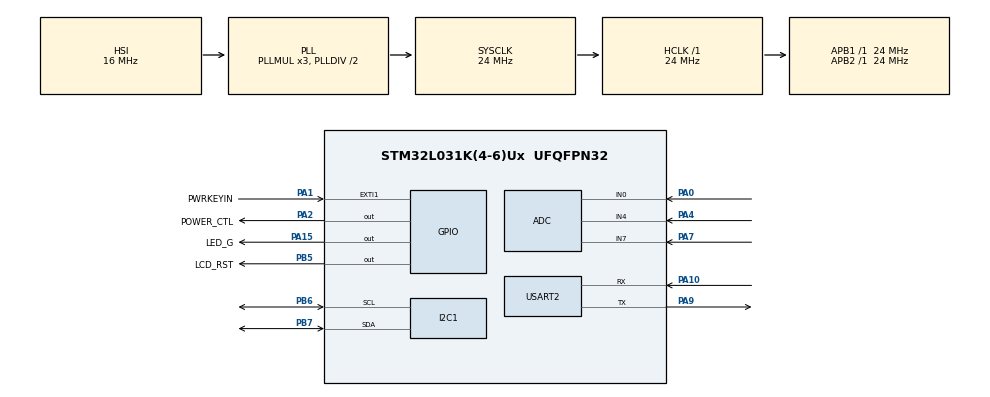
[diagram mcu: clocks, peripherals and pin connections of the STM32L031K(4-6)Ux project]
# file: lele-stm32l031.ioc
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ADC.ClockPrescaler=ADC_CLOCK_ASYNC_DIV16
ADC.ContinuousConvMode=ENABLE
ADC.DMAContinuousRequests=ENABLE
ADC.EOCSelection=ADC_EOC_SEQ_CONV
ADC.SamplingTime=ADC_SAMPLETIME_12CYCLES_5
Dma.ADC.0.Direction=DMA_PERIPH_TO_MEMORY
Dma.ADC.0.Instance=DMA1_Channel1
Dma.ADC.0.MemDataAlignment=DMA_MDATAALIGN_HALFWORD
Dma.ADC.0.MemInc=DMA_MINC_ENABLE
Dma.ADC.0.Mode=DMA_NORMAL
Dma.ADC.0.PeriphDataAlignment=DMA_PDATAALIGN_HALFWORD
Dma.ADC.0.PeriphInc=DMA_PINC_DISABLE
Dma.ADC.0.Priority=DMA_PRIORITY_LOW
Dma.Request0=ADC
I2C1.OwnAddress=5
I2C1.Timing=0x00805C87
Mcu.Family=STM32L0
Mcu.Name=STM32L031K(4-6)Ux
Mcu.Package=UFQFPN32
NVIC.ADC1_COMP_IRQn=true\:0\:0\:false\:false\:true\:true\:true\:true
NVIC.DMA1_Channel1_IRQn=true\:0\:0\:false\:false\:true\:false\:true\:true
NVIC.LPTIM1_IRQn=true\:0\:0\:false\:false\:true\:true\:true\:true
PA0-CK_IN.Mode=IN0
PA0-CK_IN.Signal=ADC_IN0
PA1.GPIO_Label=PWRKEYIN
PA1.GPIO_ModeDefaultEXTI=GPIO_MODE_IT_FALLING
PA1.Signal=GPXTI1
PA10.Mode=Asynchronous
PA10.Signal=USART2_RX
PA13.Mode=Serial_Wire
PA13.Signal=SYS_SWDIO
PA14.Mode=Serial_Wire
PA14.Signal=SYS_SWCLK
PA15.GPIO_Label=LED_G
PA15.Signal=GPIO_Output
PA2.GPIO_Label=POWER_CTL
PA2.Signal=GPIO_Output
PA4.Mode=IN4
PA4.Signal=ADC_IN4
PA7.Mode=IN7
PA7.Signal=ADC_IN7
PA9.Mode=Asynchronous
PA9.Signal=USART2_TX
PB5.GPIO_Label=LCD_RST
PB5.Signal=GPIO_Output
PB6.Mode=I2C
PB6.Signal=I2C1_SCL
PB7.Mode=I2C
PB7.Signal=I2C1_SDA
ProjectManager.HeapSize=0x400
ProjectManager.StackSize=0x800
ProjectManager.TargetToolchain=MDK-ARM V5.27
RCC.AHBFreq_Value=24000000
RCC.APB1Freq_Value=24000000
RCC.APB1TimFreq_Value=24000000
RCC.APB2Freq_Value=24000000
RCC.APB2TimFreq_Value=24000000
RCC.HCLKFreq_Value=24000000
RCC.HSE_VALUE=8000000
RCC.HSI16_VALUE=16000000
RCC.HSI_VALUE=16000000
RCC.LSE_VALUE=32768
RCC.MSI_VALUE=2097000
RCC.SYSCLKFreq_VALUE=24000000
RCC.SYSCLKSource=RCC_SYSCLKSOURCE_PLLCLK
RCC.VCOOutputFreq_Value=48000000
RTC.WakeUpClock-WakeUp=RTC_WAKEUPCLOCK_CK_SPRE_16BITS
RTC.WakeUpCounter-WakeUp=10
SYS.PVDLevel=PWR_PVDLEVEL_0
USART2.VirtualMode-Asynchronous=VM_ASYNC
VP_ADC_TempSens_Input.Mode=IN-TempSens
VP_LPTIM1_VS_LPTIM_counterModeInternalClock.Mode=Counts__internal_clock_event_00
VP_RTC_VS_RTC_Activate.Mode=RTC_Enabled
VP_RTC_VS_RTC_WakeUp_intern.Mode=WakeUp
VP_SYS_V_PVD_IN.Mode=Mode_PVD_Int
board=custom

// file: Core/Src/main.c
/* USER CODE BEGIN Header */
/**
 ******************************************************************************
 * @file           : main.c
 * @brief          : Main program body
 ******************************************************************************
 * @attention
 *
 * Copyright (c) 2026 STMicroelectronics.
 * All rights reserved.
 *
 * This software is licensed under terms that can be found in the LICENSE file
 * in the root directory of this software component.
 * If no LICENSE file comes with this software, it is provided AS-IS.
 *
 ******************************************************************************
 */
/* USER CODE END Header */
#include "main.h"
#include "adc.h"
#include "dma.h"
#include "gpio.h"
#include "i2c.h"
#include "lptim.h"
#include "rtc.h"
#include "usart.h"

/* USER CODE BEGIN Includes */
#include "oled.h"
#include <math.h>
#include <stdarg.h>
#include <stdint.h>
#include <stdio.h>
#include <stdlib.h>

/* USER CODE END Includes */

/* USER CODE BEGIN PTD */
typedef struct {
  uint16_t raw_vbat;
  uint16_t raw_vref;
  uint16_t raw_ext_temp;
  uint16_t raw_int_temp;
  uint32_t vdda_mv;
  uint32_t vbat_mv;
  uint32_t vref_mv;
  uint32_t temp_ext_c_pt1000_mv;
  int32_t temp_int_c_x100; /* hundredths of deg C */
  int32_t temp_ext_c_x100; /* hundredths of deg C, computed from pt1000 */
} adc_sample_t;
/* USER CODE END PTD */

/* USER CODE BEGIN PD */
#define APP_LED_BLINK_PERIOD_MS 1000U
#define BUTTON_DEBOUNCE_MS 50U
#define BUTTON_LONG_PRESS_MS      3000U
#define DISPLAY_TIMEOUT_MS        3000U
#define WAKEUP_TIMEOUT_MS 60000U
#define VREF_EXT_MV 1250U
#define ADC_FULL_SCALE 4095U
#define TS_CAL1_ADDR ((uint16_t *)0x1FF8007A)
#define TS_CAL2_ADDR ((uint16_t *)0x1FF8007E)
#define TS_CAL_VREF_MV 3000U
#define ADC_CHANNEL_COUNT 4U
#define ADC_DMA_SAMPLES 8U
#define EMA_ALPHA_NUM 1U
#define EMA_ALPHA_DEN 4U

#define ADC_REF_VOLTAGE VREF_EXT_MV
#define DISPLAY_ENABLE 1U
#define APP_KEY_WAKEUP_ENABLE 1U
#define TEMP_WEAR_ON_THRESHOLD_X100 3600
#define TEMP_WEAR_OFF_THRESHOLD_X100 3550
#define INVALID_TEMP_X100 (-99900)

// 功耗模式定义
typedef enum {
  POWER_MODE_ACTIVE,  // 活动模式
  POWER_MODE_STANDBY, // 待机模式
  POWER_MODE_SLEEP,   // 深度睡眠
  POWER_MODE_SHUTDOWN // 关机模式
} PowerMode_t;

/* USER CODE END PD */

/* USER CODE BEGIN PV */
static volatile uint16_t adc_dma_buf[ADC_CHANNEL_COUNT * ADC_DMA_SAMPLES];
static volatile uint8_t adc_busy = 0;
static volatile uint8_t adc_ready = 0;
// adc_filter_init reserved for future smoothing; unused currently

static volatile uint8_t rtc_wakeup_flag = 0;
static volatile uint8_t button_irq_flag = 0;
static volatile uint8_t wakeup_source = 0; // 0=unknown, 1=RTC, 2=button
static uint8_t button_short_press = 0;
static uint8_t button_long_press = 0;
static uint32_t button_press_start_time = 0;  // 按键按下时间戳
static uint8_t button_last_state = 1;        // 上次按键状态（1=高电平=释放）
static uint8_t button_debounce_count = 0;    // 防抖计数器
static uint8_t button_long_press_triggered = 0;  // 长按已触发标志

static uint32_t last_led_toggle = 0;
static uint32_t last_wakeup_tick = 0;
static adc_sample_t latest_sample = {0};
static int32_t peak_temp_c_x100 = INVALID_TEMP_X100;
static uint8_t peak_temp_valid = 0;
static uint8_t wear_state_on_body = 0;
#if DISPLAY_ENABLE
static int32_t display_temp_c_x100 = INVALID_TEMP_X100;
static uint8_t display_on = 0;
static uint32_t last_display_tick = 0;
#endif

/* USER CODE END PV */

void SystemClock_Config(void);

static void App_SampleAdc(void);
static int32_t App_ComputeInternalTempC_x100(uint16_t raw_ts, uint32_t vdda_mv);
static void App_Log(const char *fmt, ...);
#if DISPLAY_ENABLE
static void App_UpdateDisplay(void);
#endif
static void App_UpdateWearState(int32_t temp_c_x100);
#if DISPLAY_ENABLE
static int32_t App_GetDisplayTemp(void);
#endif
static void App_EnterStopMode(void);
static void App_EnterShutdownMode(void);
static void App_SetPowerMode(PowerMode_t mode);

/* USER CODE BEGIN 0 */

// -------------------------- 1. 各温度对应的阻值数组（基于您提供的矩阵数据）
// -------------------------- 32℃对应的阻值列表
static const float pt1000_32[] = {1124.474, 1124.861, 1125.248, 1125.636,
                                  1126.023, 1126.41,  1126.797, 1127.184,
                                  1127.571, 1127.958};

// 33℃对应的阻值列表
static const float pt1000_33[] = {1128.345, 1128.732, 1129.119, 1129.893,
                                  1130.127, 1130.28,  1130.667, 1131.054,
                                  1131.441, 1131.82};

// 34℃对应的阻值列表
static const float pt1000_34[] = {1132.215, 1132.602, 1132.988, 1133.375,
                                  1133.762, 1134.149, 1134.536, 1134.923,
                                  1135.309, 1135.69};

// 35℃对应的阻值列表
static const float pt1000_35[] = {1136.083, 1136.47,  1136.857, 1137.243,
                                  1137.63,  1138.017, 1138.404, 1138.79,
                                  1139.177, 1139.564};

// 36℃对应的阻值列表
static const float pt1000_36[] = {1139.95,  1140.337, 1140.724, 1141.11,
                                  1141.497, 1141.884, 1142.27,  1142.657,
                                  1143.043, 1143.43};

// 37℃对应的阻值列表
static const float pt1000_37[] = {1143.817, 1144.203, 1144.59,  1144.976,
                                  1145.363, 1145.749, 1146.136, 1146.522,
                                  1146.909, 1147.295};

// 38℃对应的阻值列表
static const float pt1000_38[] = {1147.681, 1148.068, 1148.454, 1148.841,
                                  1149.227, 1149.614, 1150.0,   1150.386,
                                  1150.773, 1151.159};

// 39℃对应的阻值列表
static const float pt1000_39[] = {1151.545, 1151.932, 1152.318, 1152.704,
                                  1153.091, 1153.477, 1153.86,  1154.249,
                                  1154.636, 1155.02};

// 40℃对应的阻值列表
static const float pt1000_40[] = {1155.408, 1155.794, 1156.18,  1156.567,
                                  1156.953, 1157.339, 1157.725, 1158.111,
                                  1158.497, 1158.883};

// 41℃对应的阻值列表
static const float pt1000_41[] = {1159.27,  1159.656, 1160.042, 1160.428,
                                  1160.814, 1161.2,   1161.586, 1161.972,
                                  1162.358, 1162.744};

// 42℃对应的阻值列表
static const float pt1000_42[] = {1163.13,  1163.516, 1163.902, 1164.288,
                                  1164.674, 1165.06,  1165.446, 1165.831,
                                  1166.217, 1166.6};

// 43℃对应的阻值列表
static const float pt1000_43[] = {1166.989, 1167.376, 1167.761, 1168.147,
                                  1168.532, 1168.918, 1169.304, 1169.69,
                                  1170.076, 1170.46};

// 44℃对应的阻值列表
static const float pt1000_44[] = {1170.847, 1171.233, 1171.619, 1172.004,
                                  1172.39,  1172.776, 1173.161, 1173.547,
                                  1173.933, 1174.318};

// 45℃对应的阻值列表
static const float pt1000_45[] = {1174.704, 1175.09,  1175.475, 1175.861,
                                  1176.247, 1176.632, 1177.018, 1177.403,
                                  1177.789, 1178.174};

// -------------------------- 2. 温度-阻值数组映射表（核心关联结构）
// --------------------------
typedef struct {
  int8_t temp;              // 温度（℃，32~45）
  const float *resistances; // 对应温度的阻值数组
  uint8_t res_count;        // 阻值数组的元素数量
} PT1000_TempResMap;

// 32℃~45℃ 温度-阻值映射表（整合上述数组）
const PT1000_TempResMap pt1000_temp_res_map[] = {
    {32, pt1000_32, sizeof(pt1000_32) / sizeof(float)},
    {33, pt1000_33, sizeof(pt1000_33) / sizeof(float)},
    {34, pt1000_34, sizeof(pt1000_34) / sizeof(float)},
    {35, pt1000_35, sizeof(pt1000_35) / sizeof(float)},
    {36, pt1000_36, sizeof(pt1000_36) / sizeof(float)},
    {37, pt1000_37, sizeof(pt1000_37) / sizeof(float)},
    {38, pt1000_38, sizeof(pt1000_38) / sizeof(float)},
    {39, pt1000_39, sizeof(pt1000_39) / sizeof(float)},
    {40, pt1000_40, sizeof(pt1000_40) / sizeof(float)},
    {41, pt1000_41, sizeof(pt1000_41) / sizeof(float)},
    {42, pt1000_42, sizeof(pt1000_42) / sizeof(float)},
    {43, pt1000_43, sizeof(pt1000_43) / sizeof(float)},
    {44, pt1000_44, sizeof(pt1000_44) / sizeof(float)},
    {45, pt1000_45, sizeof(pt1000_45) / sizeof(float)}};

// 映射表的总条目数（自动计算，避免硬编码错误）
#define PT1000_MAP_ENTRY_COUNT                                                 \
  (sizeof(pt1000_temp_res_map) / sizeof(PT1000_TempResMap))

// -------------------------- 2. 核心函数：阻值转温度（0.1℃精度）
// --------------------------
/**
 * @brief 阻值转温度（精度0.1℃）
 * @param target_res: 采样的PT1000阻值（Ω）
 * @return 温度值（℃，保留1位小数）；返回-999.0表示阻值超出32~45℃对应范围
 */
float pt1000_res_to_temp_01deg(const float target_res) {
  // 定义相邻原始点（R_prev/T_prev：前一个0.1℃步进点；R_next/T_next：后一个0.1℃步进点）
  float R_prev = 0.0f, T_prev = 0.0f;
  float R_next = 0.0f, T_next = 0.0f;
  // 全局遍历所有原始阻值点，找到目标阻值的相邻区间
  for (uint8_t i = 0; i < PT1000_MAP_ENTRY_COUNT; i++) {
    const PT1000_TempResMap *entry = &pt1000_temp_res_map[i];
    for (uint8_t j = 0; j < entry->res_count; j++) {
      float current_R = entry->resistances[j];
      // 原始点的温度：基准温度 + j×0.1℃（如32.0 +
      // 0×0.1=32.00，32.0+1×0.1=32.10...）
      float current_T = entry->temp + (j * 0.1f);

      // 1. 精准匹配原始点：直接返回0.01℃精度的温度（无插值）
      if (fabs(current_R - target_res) < 1e-6) { // 浮点精度容错（1e-6Ω）
        return roundf(current_T * 100) / 100;    // 强制保留2位小数
      }

      // 2. 更新前一个点（≤目标阻值的最大阻值点）
      if (current_R <= target_res && current_R > R_prev) {
        R_prev = current_R;
        T_prev = current_T;
      }

      // 3. 更新后一个点（≥目标阻值的最小阻值点）
      if (current_R >= target_res) {
        if (R_next == 0.0f || current_R < R_next) {
          R_next = current_R;
          T_next = current_T;
        }
      }
    }
  }

  // 校验：阻值超出32~45℃范围（无有效相邻点）
  if (R_prev == 0.0f || R_next == 0.0f) {
    return -999.00f;
  }

  // 4. 二级线性插值：在0.1℃区间内细分到0.01℃
  // 公式：Tx = T_prev + (T_next - T_prev) × (Rx - R_prev)/(R_next - R_prev)
  // T_next - T_prev = 0.1℃，因此结果会自然细分到0.01℃
  float temp_delta = T_next - T_prev; // 固定为0.1℃（原始点步进）
  float res_delta = R_next - R_prev;  // 原始点的阻值差
  if (res_delta <= 0.0f) {
    return -999.00f; // 数据异常（非递增或重复）
  }
  float res_offset = target_res - R_prev; // 目标阻值相对前一个点的偏移
  float interpolated_T = T_prev + (temp_delta * res_offset) / res_delta;

  // 5. 四舍五入保留2位小数（确保0.01℃精度，避免浮点误差）
  interpolated_T = roundf(interpolated_T * 100) / 100;

  return interpolated_T;
}

#if DISPLAY_ENABLE
static void App_UpdateDisplay(void) {
  SSD1315_Clear();
  char buff[16];
  snprintf(buff, sizeof(buff), "%.2fo", display_temp_c_x100 * 0.01f);
  SSD1315_ShowBigText(1, 8, buff, 1);
  SSD1315_Refresh_Gram();
}
#endif

static void App_UpdateWearState(int32_t temp_c_x100) {
  uint8_t old_wear_state = wear_state_on_body;

  if (wear_state_on_body) {
    if (temp_c_x100 <= TEMP_WEAR_OFF_THRESHOLD_X100) {
      wear_state_on_body = 0;
    }
  } else {
    if (temp_c_x100 >= TEMP_WEAR_ON_THRESHOLD_X100) {
      wear_state_on_body = 1;
    }
  }

  // 重新检测到在体时，清除旧峰值，重新开始锁存
  if (!old_wear_state && wear_state_on_body) {
    peak_temp_c_x100 = INVALID_TEMP_X100;
    peak_temp_valid = 0;
  }
}

#if DISPLAY_ENABLE
static int32_t App_GetDisplayTemp(void) {
  if (wear_state_on_body) {
    return latest_sample.temp_ext_c_x100;
  }

  if (peak_temp_valid) {
    return peak_temp_c_x100;
  }

  return latest_sample.temp_ext_c_x100;
}
#endif

static void App_Log(const char *fmt, ...) {
  char buf[256];
  int len = 0;
  uint32_t tick = HAL_GetTick();
  len = snprintf(buf, sizeof(buf), "[%lu] ", (unsigned long)tick);

  if (len < 0 || len >= (int)sizeof(buf)) {
    return;
  }

  va_list args;
  va_start(args, fmt);
  int rem = (int)sizeof(buf) - len;
  int n = vsnprintf(&buf[len], (size_t)rem, fmt, args);
  va_end(args);

  if (n < 0) {
    return;
  }

  int total = len + n;
  if (total > (int)sizeof(buf)) {
    total = sizeof(buf);
  }

  HAL_UART_Transmit(&huart2, (uint8_t *)buf, (uint16_t)total, 100);
}

static void App_SampleAdc(void) {
  if (adc_busy) {
    return; /* Avoid overlapping DMA transfers */
  }

  adc_ready = 0;
  adc_busy = 1;

  if (HAL_ADC_Start_DMA(&hadc, (uint32_t *)adc_dma_buf,
                        ADC_CHANNEL_COUNT * ADC_DMA_SAMPLES) != HAL_OK) {
    adc_busy = 0;
  }
}

static int32_t App_ComputeInternalTempC_x100(uint16_t raw_ts,
                                             uint32_t vdda_mv) {
  uint32_t ts_cal1 = (uint32_t)(*TS_CAL1_ADDR);
  uint32_t ts_cal2 = (uint32_t)(*TS_CAL2_ADDR);
  if (ts_cal2 <= ts_cal1) {
    return 0;
  }

  /* scale raw reading to calibration voltage */
  uint32_t ts_scaled = (uint32_t)raw_ts * vdda_mv / TS_CAL_VREF_MV;
  int32_t numerator = (int32_t)(ts_scaled - ts_cal1) * 100 * (110 - 30);
  int32_t temp_c_x100 = numerator / (int32_t)(ts_cal2 - ts_cal1) + 30 * 100;
  return temp_c_x100;
}

void HAL_ADC_ConvCpltCallback(ADC_HandleTypeDef *hadc_handle) {
  if (hadc_handle != &hadc) {
    return;
  }

  /* Stop DMA after normal-mode transfer completes */
  HAL_ADC_Stop_DMA(hadc_handle);

  adc_sample_t sample = {0};
  uint32_t sum_vbat = 0;
  uint32_t sum_vref = 0;
  uint32_t sum_ext = 0;
  uint32_t sum_int = 0;

  for (uint32_t i = 0; i < ADC_DMA_SAMPLES; i++) {
    uint32_t base = i * ADC_CHANNEL_COUNT;
    sum_vbat += adc_dma_buf[base + 0];
    sum_vref += adc_dma_buf[base + 1];
    sum_ext += adc_dma_buf[base + 2];
    sum_int += adc_dma_buf[base + 3];
  }

  sample.raw_vbat = (uint16_t)(sum_vbat / ADC_DMA_SAMPLES);
  sample.raw_vref = (uint16_t)(sum_vref / ADC_DMA_SAMPLES);
  sample.raw_ext_temp = (uint16_t)(sum_ext / ADC_DMA_SAMPLES);
  sample.raw_int_temp = (uint16_t)(sum_int / ADC_DMA_SAMPLES);

  if (sample.raw_vref > 0) {
    sample.vdda_mv = (uint32_t)VREF_EXT_MV * ADC_FULL_SCALE / sample.raw_vref;
  } else {
    sample.vdda_mv = 3000U;
  }

  sample.vbat_mv =
      (uint32_t)sample.raw_vbat * sample.vdda_mv * 2 / ADC_FULL_SCALE;
  sample.temp_int_c_x100 =
      App_ComputeInternalTempC_x100(sample.raw_int_temp, sample.vdda_mv);
  sample.temp_ext_c_pt1000_mv =
      (uint32_t)sample.raw_ext_temp * sample.vdda_mv / ADC_FULL_SCALE;

  /* Simple EMA to smooth noise */
  latest_sample.raw_vbat = sample.raw_vbat;
  latest_sample.raw_vref = sample.raw_vref;
  latest_sample.raw_ext_temp = sample.raw_ext_temp;
  latest_sample.raw_int_temp = sample.raw_int_temp;
  latest_sample.vdda_mv = sample.vdda_mv;
  latest_sample.vbat_mv = sample.vbat_mv;
  latest_sample.vref_mv = VREF_EXT_MV;
  latest_sample.temp_int_c_x100 = sample.temp_int_c_x100;
  latest_sample.temp_ext_c_pt1000_mv = sample.temp_ext_c_pt1000_mv;

  adc_ready = 1;
  adc_busy = 0;
}

static void App_HandleLed(uint32_t now) {
  if ((now - last_led_toggle) >= APP_LED_BLINK_PERIOD_MS) {
    last_led_toggle = now;
    HAL_GPIO_TogglePin(LED_G_GPIO_Port, LED_G_Pin);
  }
}

void HAL_GPIO_EXTI_Callback(uint16_t GPIO_Pin) {
  if (GPIO_Pin == PWRKEYIN_Pin) {
    button_irq_flag = 1;
    wakeup_source = 2; // button wake-up
    last_wakeup_tick = HAL_GetTick();
  }
}

// 防抖计数阈值（约50ms防抖）
#define BUTTON_DEBOUNCE_COUNT 5U

static void App_HandleButton(void) {
  uint8_t current_state = HAL_GPIO_ReadPin(PWRKEYIN_GPIO_Port, PWRKEYIN_Pin);

  if(current_state != button_last_state) {
    // 增加防抖计数
    if(++button_debounce_count >= BUTTON_DEBOUNCE_COUNT) {
      // 防抖完成，状态稳定
      button_last_state = current_state;
      button_debounce_count = 0;

      if(current_state == GPIO_PIN_RESET) {
        // 按键按下（低电平）
        App_Log("button: pressed\r\n");
        // 记录按下时间戳，开始计时
        button_press_start_time = HAL_GetTick();
        button_long_press_triggered = 0;
      } else {
        // 按键释放（高电平）
        App_Log("button: released\r\n");
        // 释放时检查是否为短按（未触发过长按）
        if(!button_long_press_triggered && button_press_start_time > 0) {
          uint32_t press_duration = HAL_GetTick() - button_press_start_time;
          // 只有按下时间超过防抖时间才算有效短按
          if(press_duration >= BUTTON_DEBOUNCE_MS) {
            button_short_press = 1;
            App_Log("button: short press detected (%lu ms)\r\n", press_duration);
          }
        }
        // 重置状态
        button_press_start_time = 0;
        button_long_press_triggered = 0;
      }
    }
  } else {
    // 状态未变化，重置防抖计数器
    button_debounce_count = 0;

    // 如果按键保持按下状态，检查长按
    if(current_state == GPIO_PIN_RESET && button_press_start_time > 0 && !button_long_press_triggered) {
      uint32_t press_duration = HAL_GetTick() - button_press_start_time;
      if(press_duration >= BUTTON_LONG_PRESS_MS) {
        // 达到长按阈值，触发长按
        button_long_press = 1;
        button_long_press_triggered = 1;  // 设置触发标志，防止重复触发
        App_Log("button: long press detected (%lu ms)\r\n", press_duration);
      }
    }
  }
}

static void App_Init(void) {
  /* Select wake-up source policy at runtime init. */
#if (APP_KEY_WAKEUP_ENABLE == 0U)
  /* RTC is the only wake-up source. */
  GPIO_InitTypeDef gpio_init = {0};
  HAL_NVIC_DisableIRQ(EXTI0_1_IRQn);
  gpio_init.Pin = PWRKEYIN_Pin;
  gpio_init.Mode = GPIO_MODE_INPUT;
  gpio_init.Pull = GPIO_PULLUP; // 启用上拉
  HAL_GPIO_Init(PWRKEYIN_GPIO_Port, &gpio_init);
  __HAL_GPIO_EXTI_CLEAR_IT(PWRKEYIN_Pin);
#else
  /* Keep key EXTI as an additional wake-up source. */
  __HAL_GPIO_EXTI_CLEAR_IT(PWRKEYIN_Pin);
  HAL_NVIC_ClearPendingIRQ(EXTI0_1_IRQn);
  HAL_NVIC_EnableIRQ(EXTI0_1_IRQn);
#endif

#if DISPLAY_ENABLE
  if (SSD1315_Init() == SSD1315_OK) {
    SSD1315_Clear();
    SSD1315_Refresh_Gram();
    SSD1315_WriteCmd(0xAF); // 打开屏幕，显示启动画面
    display_on = 1;
    last_display_tick = HAL_GetTick();
  }
#endif
  /* Start an initial ADC sampling */
  App_SampleAdc();

  /* 记录启动时间，用于5秒后自动进入睡眠 */
  last_wakeup_tick = HAL_GetTick();

  /* Log boot */
  App_Log("boot: app init complete\r\n");
}

static void App_Run(void) {
  uint32_t now = HAL_GetTick();
  if(wakeup_source == 1) {
    App_Log("wakeup: by RTC\r\n");
    // 从低功耗模式唤醒，恢复到活动模式
    App_SetPowerMode(POWER_MODE_ACTIVE);
    // 重新初始化外设
    MX_I2C1_Init();
    MX_USART2_UART_Init();
    // RTC唤醒不打开屏幕，保持低功耗
    wakeup_source = 0;
  } else if(wakeup_source == 2) {
    App_Log("wakeup: by button\r\n");
    // 重置睡眠时间计数器，重新计时
    last_wakeup_tick = HAL_GetTick();
    App_Log("wakeup: sleep timer reset\r\n");
    // 清除按键中断标志，防止重复处理
    button_irq_flag = 0;
    // 重置按键状态，确保唤醒后按键检测从头开始
    button_press_start_time = 0;
    button_long_press_triggered = 0;
    button_last_state = HAL_GPIO_ReadPin(PWRKEYIN_GPIO_Port, PWRKEYIN_Pin);
    button_debounce_count = 0;
    // 如果唤醒时按键仍按下，记录按下时间戳（支持长按关机）
    if(button_last_state == GPIO_PIN_RESET) {
      button_press_start_time = HAL_GetTick();
      button_long_press_triggered = 0;
      App_Log("wakeup: button pressed, starting long press timer\r\n");
    }
    App_Log("wakeup: button state reset\r\n");
    // 从低功耗模式唤醒，恢复到活动模式
    App_SetPowerMode(POWER_MODE_ACTIVE);
    // 重新初始化外设
    MX_I2C1_Init();
    MX_USART2_UART_Init();
#if DISPLAY_ENABLE
    SSD1315_Init();
    SSD1315_WriteCmd(0xAF);  // 打开屏幕
    display_on = 1;
    last_display_tick = HAL_GetTick();
    App_UpdateDisplay();
#endif
    wakeup_source = 0;
  }

  App_HandleButton();
  App_HandleLed(now);

  if (adc_ready) {
    adc_ready = 0;

    float tmp_res =
        (latest_sample.raw_ext_temp * 1.0f / latest_sample.raw_vref) * 1000.0f /
            82 +
        1136;
    float temperature = pt1000_res_to_temp_01deg(tmp_res);
    // temperature转换到temp_ext_c_x100
    latest_sample.temp_ext_c_x100 = (int32_t)(temperature * 100);

    if (latest_sample.temp_ext_c_x100 > INVALID_TEMP_X100) {
      App_UpdateWearState(latest_sample.temp_ext_c_x100);

      // 只有在体时才更新峰值，离体后保持峰值不变
      if (wear_state_on_body) {
        if (!peak_temp_valid ||
            latest_sample.temp_ext_c_x100 > peak_temp_c_x100) {
          peak_temp_c_x100 = latest_sample.temp_ext_c_x100;
          peak_temp_valid = 1;
        }
      }
    }

    App_Log("adc: ext=%ld.%02ldC peak=%ld.%02ldC wear=%u vbat=%lumV\r\n",
            (long)(latest_sample.temp_ext_c_x100 / 100),
            (long)labs(latest_sample.temp_ext_c_x100 % 100),
            (long)(peak_temp_c_x100 / 100), (long)labs(peak_temp_c_x100 % 100),
            (unsigned int)wear_state_on_body,
            (unsigned long)latest_sample.vbat_mv);
#if DISPLAY_ENABLE
    display_temp_c_x100 = App_GetDisplayTemp();
    // 只在屏幕打开时更新显示
    if(display_on) {
      App_UpdateDisplay();
    }
#endif
  }

  if (rtc_wakeup_flag) {
    rtc_wakeup_flag = 0;
    App_SampleAdc();
  }

  if (button_short_press) {
    button_short_press = 0;
    HAL_GPIO_WritePin(GPIOA, POWER_CTL_Pin, GPIO_PIN_SET);
    // 清除峰值，重新开始测量
    peak_temp_c_x100 = INVALID_TEMP_X100;
    peak_temp_valid = 0;
    App_Log("button short: clear peak\r\n");

    // 重置睡眠时间计数器，重新计时
    last_wakeup_tick = HAL_GetTick();
    App_Log("button short: sleep timer reset\r\n");

#if DISPLAY_ENABLE
    // 如果屏幕关闭，打开屏幕显示3秒
    if(!display_on) {
      SSD1315_WriteCmd(0xAF); // 打开OLED
      display_on = 1;
      last_display_tick = HAL_GetTick();
      App_UpdateDisplay();
      App_Log("button short: display on\r\n");
    } else {
      // 屏幕已打开，延长显示时间但不刷新（避免闪屏）
      last_display_tick = HAL_GetTick();
      App_Log("button short: display extended\r\n");
    }
#endif
  }

  if (button_long_press) {
    button_long_press = 0;
    App_Log("power: POWER_CTL_Pin set LOW\r\n");
    HAL_GPIO_WritePin(GPIOA, POWER_CTL_Pin, GPIO_PIN_RESET);
    App_Log("power off by long press\r\n");
    App_SetPowerMode(POWER_MODE_SHUTDOWN);
  }

// 显示超时检测：屏幕打开后3秒无操作则关闭
#if DISPLAY_ENABLE
  if(display_on) {
    if((HAL_GetTick() - last_display_tick) >= DISPLAY_TIMEOUT_MS) {
      SSD1315_WriteCmd(0xAE); // 关闭OLED
      display_on = 0;
      App_Log("display: timeout, turning off\r\n");
    }
  }
#endif

  // 多级功耗管理
  if (!adc_busy && !adc_ready && !rtc_wakeup_flag) {
    // 使用实时时间计算空闲时间，确保按键操作后立即更新
    uint32_t idle_time = HAL_GetTick() - last_wakeup_tick;
    if (idle_time >= WAKEUP_TIMEOUT_MS * 4) {
      // 240秒无操作，进入关机模式
      App_SetPowerMode(POWER_MODE_SHUTDOWN);
    } else if (idle_time >= WAKEUP_TIMEOUT_MS * 2) {
      // 120秒无操作，进入深度睡眠
      App_SetPowerMode(POWER_MODE_SLEEP);
    } else if (idle_time >= WAKEUP_TIMEOUT_MS) {
      // 60秒无操作，进入待机模式（关闭显示）
      App_SetPowerMode(POWER_MODE_STANDBY);
    }
  }
}

static void App_EnterStopMode(void) {
  App_Log("sleep: entering stop mode\r\n");

#if (APP_KEY_WAKEUP_ENABLE == 1U)
  // 使能按键外部中断，用于唤醒Stop模式
  HAL_NVIC_ClearPendingIRQ(EXTI0_1_IRQn);
  HAL_NVIC_EnableIRQ(EXTI0_1_IRQn);
#endif

  // 关闭不必要的外设时钟
  __HAL_RCC_ADC1_CLK_DISABLE();
  __HAL_RCC_I2C1_CLK_DISABLE();
  __HAL_RCC_USART2_CLK_DISABLE();

  HAL_SuspendTick();
  HAL_PWR_EnterSTOPMode(PWR_LOWPOWERREGULATOR_ON, PWR_STOPENTRY_WFI);
  SystemClock_Config();
  HAL_ResumeTick();

  // 重新启用外设时钟
  __HAL_RCC_ADC1_CLK_ENABLE();
  __HAL_RCC_I2C1_CLK_ENABLE();
  __HAL_RCC_USART2_CLK_ENABLE();

#if (APP_KEY_WAKEUP_ENABLE == 1U)
  // 唤醒后禁按键中断，避免重复触发
  HAL_NVIC_DisableIRQ(EXTI0_1_IRQn);
#endif
}

static void App_EnterShutdownMode(void) {
  App_Log("sleep: entering shutdown mode\r\n");

  // 关闭所有外设
  HAL_ADC_Stop_DMA(&hadc);
  HAL_I2C_DeInit(&hi2c1);
  HAL_UART_DeInit(&huart2);

  // 关闭外设时钟
  __HAL_RCC_ADC1_CLK_DISABLE();
  __HAL_RCC_I2C1_CLK_DISABLE();
  __HAL_RCC_USART2_CLK_DISABLE();
  __HAL_RCC_DMA1_CLK_DISABLE();

  // 配置唤醒源
  __HAL_PWR_CLEAR_FLAG(PWR_FLAG_WU);

  // 启用WakeUp引脚1作为唤醒源
  HAL_PWR_EnableWakeUpPin(PWR_WAKEUP_PIN1);

  // 启用RTC闹钟作为唤醒源
  __HAL_RCC_RTC_ENABLE();
  HAL_RTCEx_SetWakeUpTimer_IT(&hrtc, 0x7FFF, RTC_WAKEUPCLOCK_RTCCLK_DIV16);

  // 进入Standby模式（STM32L0不支持Shutdown模式）
  HAL_PWR_EnterSTANDBYMode();
}

static void App_SetPowerMode(PowerMode_t mode) {
  switch (mode) {
  case POWER_MODE_ACTIVE:
    // 活动模式：全功能运行
    App_Log("power: entering active mode\r\n");
    break;
  case POWER_MODE_STANDBY:
    // 待机模式：关闭OLED
    App_Log("power: entering standby mode\r\n");
#if DISPLAY_ENABLE
    SSD1315_WriteCmd(0xAE); // 关闭OLED
    display_on = 0;
#endif
    break;
  case POWER_MODE_SLEEP:
#if DISPLAY_ENABLE
    SSD1315_WriteCmd(0xAE); // 关闭OLED
    display_on = 0;
#endif
    // 深度睡眠：进入Stop模式
    App_EnterStopMode();
    break;
  case POWER_MODE_SHUTDOWN:
#if DISPLAY_ENABLE
    SSD1315_WriteCmd(0xAE); // 关闭OLED
#endif
    // 关机模式：进入Shutdown模式
    App_EnterShutdownMode();
    break;
  }
}

void HAL_RTCEx_WakeUpTimerEventCallback(RTC_HandleTypeDef *hrtc_handle) {
  if (hrtc_handle == &hrtc) {
    rtc_wakeup_flag = 1;
    wakeup_source = 1; // RTC wake-up
    last_wakeup_tick = HAL_GetTick();
  }
}

/* USER CODE END 0 */

int main(void) {

  /* MCU Configuration--------------------------------------------------------*/

  /* Reset of all peripherals, Initializes the Flash interface and the Systick.
   */
  HAL_Init();

  /* Configure the system clock */
  SystemClock_Config();

  /* Initialize all configured peripherals */
  MX_GPIO_Init();
  MX_DMA_Init();
  MX_ADC_Init();
  MX_I2C1_Init();
  MX_LPTIM1_Init();
  MX_RTC_Init();
  MX_USART2_UART_Init();

  /* USER CODE BEGIN 2 */
  /* 在所有外设初始化后，设置POWER_CTL_Pin保持供电 */
  App_Log("power: POWER_CTL_Pin set HIGH\r\n");
  HAL_GPIO_WritePin(GPIOA, POWER_CTL_Pin, GPIO_PIN_SET);
  App_Init();
  /* USER CODE END 2 */

  /* Infinite loop */
  while (1) {

    /* USER CODE BEGIN 3 */
    App_Run();
  }
  /* USER CODE END 3 */
}

void SystemClock_Config(void) {
  RCC_OscInitTypeDef RCC_OscInitStruct = {0};
  RCC_ClkInitTypeDef RCC_ClkInitStruct = {0};
  RCC_PeriphCLKInitTypeDef PeriphClkInit = {0};

  /** Configure the main internal regulator output voltage
   */
  __HAL_PWR_VOLTAGESCALING_CONFIG(PWR_REGULATOR_VOLTAGE_SCALE1);

  /** Initializes the RCC Oscillators according to the specified parameters
   * in the RCC_OscInitTypeDef structure.
   */
  RCC_OscInitStruct.OscillatorType =
      RCC_OSCILLATORTYPE_HSI | RCC_OSCILLATORTYPE_LSI;
  RCC_OscInitStruct.HSIState = RCC_HSI_ON;
  RCC_OscInitStruct.HSICalibrationValue = RCC_HSICALIBRATION_DEFAULT;
  RCC_OscInitStruct.LSIState = RCC_LSI_ON;
  RCC_OscInitStruct.PLL.PLLState = RCC_PLL_ON;
  RCC_OscInitStruct.PLL.PLLSource = RCC_PLLSOURCE_HSI;
  RCC_OscInitStruct.PLL.PLLMUL = RCC_PLLMUL_3;
  RCC_OscInitStruct.PLL.PLLDIV = RCC_PLLDIV_2;
  if (HAL_RCC_OscConfig(&RCC_OscInitStruct) != HAL_OK) {
    Error_Handler();
  }

  /** Initializes the CPU, AHB and APB buses clocks
   */
  RCC_ClkInitStruct.ClockType = RCC_CLOCKTYPE_HCLK | RCC_CLOCKTYPE_SYSCLK |
                                RCC_CLOCKTYPE_PCLK1 | RCC_CLOCKTYPE_PCLK2;
  RCC_ClkInitStruct.SYSCLKSource = RCC_SYSCLKSOURCE_PLLCLK;
  RCC_ClkInitStruct.AHBCLKDivider = RCC_SYSCLK_DIV1;
  RCC_ClkInitStruct.APB1CLKDivider = RCC_HCLK_DIV1;
  RCC_ClkInitStruct.APB2CLKDivider = RCC_HCLK_DIV1;

  if (HAL_RCC_ClockConfig(&RCC_ClkInitStruct, FLASH_LATENCY_1) != HAL_OK) {
    Error_Handler();
  }
  PeriphClkInit.PeriphClockSelection = RCC_PERIPHCLK_USART2 |
                                       RCC_PERIPHCLK_I2C1 | RCC_PERIPHCLK_RTC |
                                       RCC_PERIPHCLK_LPTIM1;
  PeriphClkInit.Usart2ClockSelection = RCC_USART2CLKSOURCE_PCLK1;
  PeriphClkInit.I2c1ClockSelection = RCC_I2C1CLKSOURCE_PCLK1;
  PeriphClkInit.RTCClockSelection = RCC_RTCCLKSOURCE_LSI;
  PeriphClkInit.LptimClockSelection = RCC_LPTIM1CLKSOURCE_PCLK;

  if (HAL_RCCEx_PeriphCLKConfig(&PeriphClkInit) != HAL_OK) {
    Error_Handler();
  }
}

void Error_Handler(void) {
  __disable_irq();
  while (1) {
  }
}
#ifdef USE_FULL_ASSERT
/**
 * @brief  Reports the name of the source file and the source line number
 *         where the assert_param error has occurred.
 * @param  file: pointer to the source file name
 * @param  line: assert_param error line source number
 * @retval None
 */
void assert_failed(uint8_t *file, uint32_t line) {
  /* USER CODE BEGIN 6 */
  /* User can add his own implementation to report the file name and line
     number, ex: printf("Wrong parameters value: file %s on line %d\r\n", file,
     line) */
  /* USER CODE END 6 */
}
#endif /* USE_FULL_ASSERT */
